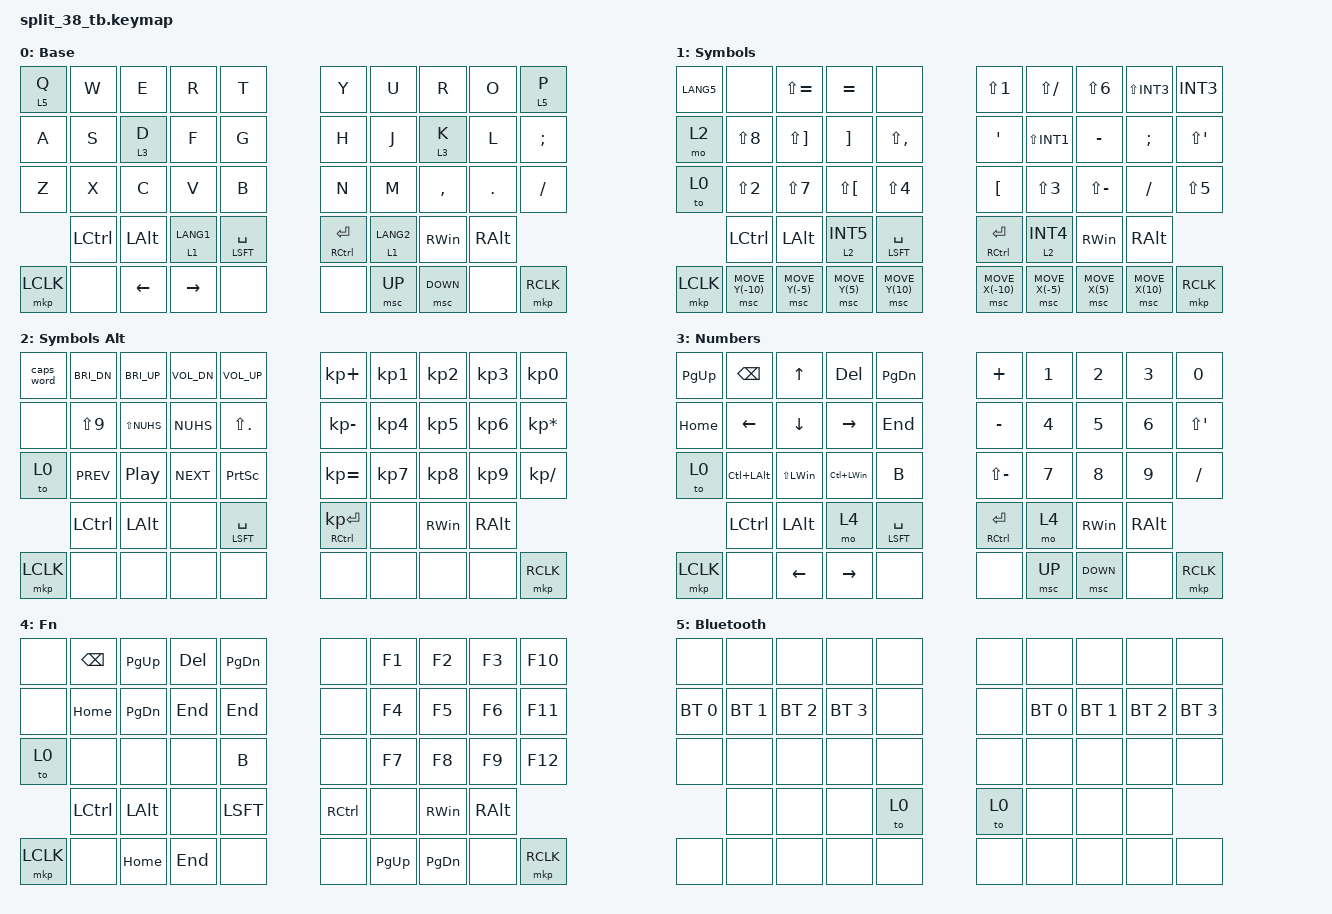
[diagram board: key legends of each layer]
#include <behaviors.dtsi>
#include <dt-bindings/zmk/keys.h>
#include <dt-bindings/zmk/pointing.h>
#include <dt-bindings/zmk/bt.h>

/ {
  keymap {
    compatible = "zmk,keymap";

    default_layer {
      display-name = "Base";
      bindings = <
        &lt 5 Q   &kp W     &kp E     &kp R        &kp T                &kp Y           &kp U           &kp R      &kp O     &lt 5 P
        &kp A     &kp S     &lt 3 D   &kp F        &kp G                &kp H           &kp J           &lt 3 K    &kp L     &kp SEMI
        &kp Z     &kp X     &kp C     &kp V        &kp B                &kp N           &kp M           &kp CMMA   &kp DOT   &kp FSLH
                  &kp LCTL  &kp LALT  &lt 1 LANG1  &mt LSFT SPC         &mt RCTL RET &lt 1 LANG2     &kp RWIN   &kp RALT
        &mkp LCLK &none     &kp LEFT  &kp RIGHT    &none                &none           &msc UP         &msc DOWN  &none     &mkp RCLK
      >;
    };

    symbols {
      display-name = "Symbols";
      bindings = <
        &kp LANG5 &none            &kp LS(EQUAL)   &kp EQUAL        &none               &kp LS(N1)        &kp LS(SLASH)   &kp LS(N6)      &kp LS(INT3)    &kp INT3
        &mo 2     &kp LS(N8)       &kp LS(RBKT)    &kp RBKT         &kp LS(COMMA)       &kp APOS          &kp LS(INT1)    &kp MINUS       &kp SEMICOLON   &kp LS(APOS)
        &to 0     &kp LS(N2)       &kp LS(N7)      &kp LS(LBKT)     &kp LS(N4)          &kp LBKT          &kp LS(N3)      &kp LS(MINUS)   &kp SLASH       &kp LS(N5)
                  &kp LCTL         &kp LALT        &lt 2 INT5       &mt LSFT SPC        &mt RCTL RET   &lt 2 INT4      &kp RWIN        &kp RALT
        &mkp LCLK &msc MOVE_Y(-10) &msc MOVE_Y(-5) &msc MOVE_Y(5)   &msc MOVE_Y(10)     &msc MOVE_X(-10)  &msc MOVE_X(-5) &msc MOVE_X(5)  &msc MOVE_X(10) &mkp RCLK
      >;
    };

    sym_alt {
      display-name = "Symbols Alt";
      bindings = <
        &caps_word &kp C_BRI_DN &kp C_BRI_UP  &kp C_VOL_DN  &kp C_VOL_UP          &kp KP_PLUS            &kp KP_N1    &kp KP_N2   &kp KP_N3  &kp KP_N0
        &none      &kp LS(N9)   &kp LS(NUHS)  &kp NUHS      &kp LS(DOT)           &kp KP_MINUS           &kp KP_N4    &kp KP_N5   &kp KP_N6  &kp KP_ASTERISK
        &to 0      &kp C_PREV   &kp C_PP      &kp C_NEXT    &kp PSCRN             &kp KP_EQUAL           &kp KP_N7    &kp KP_N8   &kp KP_N9  &kp KP_SLASH
                   &kp LCTL     &kp LALT      &none         &mt LSFT SPC          &mt RCTL KP_ENTER   &none        &kp RWIN    &kp RALT
        &mkp LCLK  &none        &none         &none         &none                 &none                  &none        &none       &none      &mkp RCLK
      >;
    };

    numbers {
      display-name = "Numbers";
      bindings = <
        &kp PG_UP &kp BSPC      &kp UP        &kp DEL        &kp PG_DN            &kp PLUS        &kp N1    &kp N2    &kp N3    &kp N0
        &kp HOME  &kp LEFT      &kp DOWN      &kp RIGHT      &kp END              &kp MINUS       &kp N4    &kp N5    &kp N6    &kp LS(APOS)
        &to 0     &kp LC(LALT)  &kp LS(LWIN)  &kp LC(LWIN)   &kp B                &kp LS(MINUS)   &kp N7    &kp N8    &kp N9   &kp SLASH
                  &kp LCTL      &kp LALT      &mo 4          &mt LSFT SPC         &mt RCTL RET &mo 4     &kp RWIN   &kp RALT
        &mkp LCLK &none         &kp LEFT      &kp RIGHT      &none                &none           &msc UP         &msc DOWN  &none     &mkp RCLK
      >;
    };

    fn {
      display-name = "Fn";
      bindings = <
        &none       &kp BSPC  &kp PG_UP  &kp DEL  &kp PG_DN      &none     &kp F1     &kp F2     &kp F3    &kp F10
        &none       &kp HOME  &kp PG_DN  &kp END  &kp END        &none     &kp F4     &kp F5     &kp F6    &kp F11
        &to 0       &none     &none      &none    &kp B          &none     &kp F7     &kp F8     &kp F9    &kp F12
                    &kp LCTL  &kp LALT   &none    &kp LSFT       &kp RCTL  &none      &kp RWIN   &kp RALT
        &mkp LCLK   &none     &kp HOME   &kp END  &none          &none     &kp PG_UP  &kp PG_DN  &none     &mkp RCLK
      >;
    };

    bt {
      display-name = "Bluetooth";
      bindings = <
        &none         &none         &none         &none         &none          &none     &none         &none         &none         &none
        &bt BT_SEL 0  &bt BT_SEL 1  &bt BT_SEL 2  &bt BT_SEL 3  &none          &none     &bt BT_SEL 0  &bt BT_SEL 1  &bt BT_SEL 2  &bt BT_SEL 3
        &none         &none         &none         &none         &none          &none     &none         &none         &none         &none
                      &none         &none         &none         &to 0          &to 0     &none         &none         &none
        &none         &none         &none         &none         &none          &none     &none         &none         &none         &none
      >;
    };
  };
};
